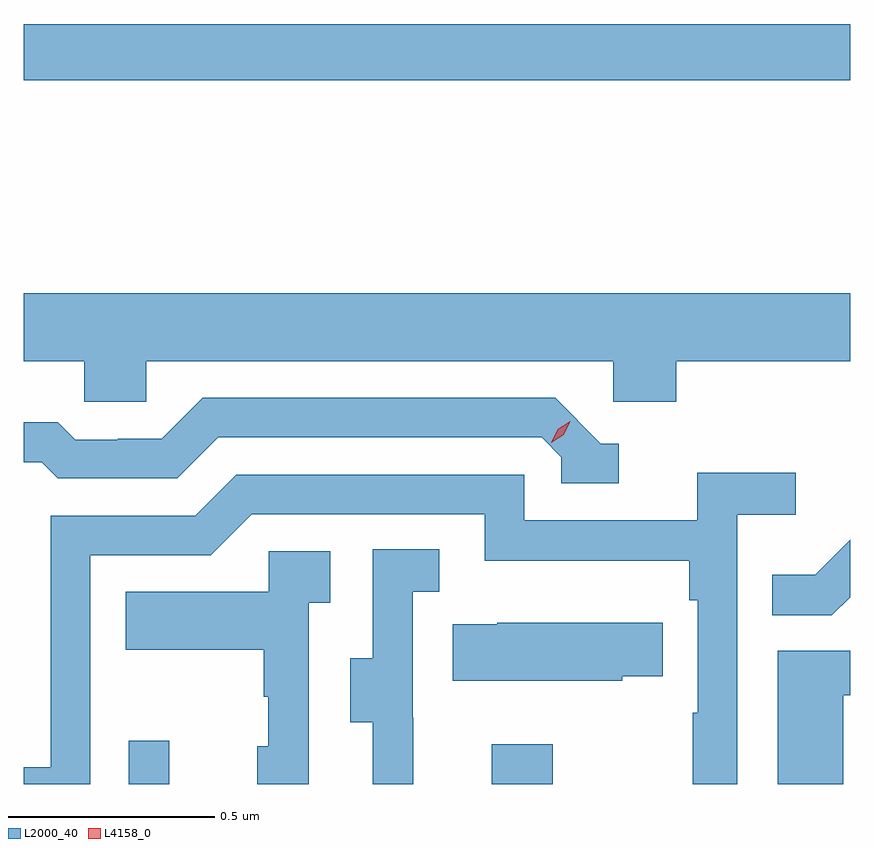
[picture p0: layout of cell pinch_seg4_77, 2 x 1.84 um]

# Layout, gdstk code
import gdstk
lib = gdstk.Library(unit=1e-6, precision=1e-09)
def R(c, l, rs):  # rectangles x0, y0, x1, y1
    for r in rs: c.add(gdstk.rectangle(r[:2], r[2:], *l))
def P(c, l, *ps):  # polygons
    for p in ps: c.add(gdstk.Polygon(p, *l))
L2000_40 = (2000, 40)
L4158_0 = (4158, 0)

pinch_seg4_77 = lib.new_cell('pinch_seg4_77')
R(pinch_seg4_77, L2000_40, [(1035.789,811.78,1035.887,811.885), (1036.667,811.78,1036.815,811.876), (1035.535,813.484,1037.535,813.62)])
P(pinch_seg4_77, L2000_40, [(1035.831,812.804),(1036.962,812.804),(1036.962,812.706),(1037.114,812.706),(1037.114,812.804),(1037.535,812.804),(1037.535,812.968),(1035.535,812.968),(1035.535,812.804),(1035.681,812.804),(1035.681,812.706),(1035.831,812.706)],
  [(1036.975,812.604),(1036.932,812.604),(1036.821,812.715),(1035.968,812.715),(1035.869,812.616),(1035.762,812.616),(1035.762,812.613),(1035.659,812.613),(1035.617,812.656),(1035.535,812.656),(1035.535,812.559),(1035.578,812.559),(1035.617,812.52),(1035.906,812.52),(1036.005,812.619),(1036.788,812.619),(1036.836,812.571),(1036.836,812.508),(1036.975,812.508)],
  [(1035.696,812.334),(1035.987,812.334),(1036.086,812.433),(1036.65,812.433),(1036.65,812.321),(1037.146,812.321),(1037.146,812.225),(1037.166,812.225),(1037.166,811.952),(1037.154,811.952),(1037.154,811.78),(1037.262,811.78),(1037.262,812.432),(1037.404,812.432),(1037.404,812.534),(1037.165,812.534),(1037.165,812.418),(1036.746,812.418),(1036.746,812.529),(1036.049,812.529),(1035.95,812.43),(1035.6,812.43),(1035.6,811.821),(1035.535,811.821),(1035.535,811.78),(1035.696,811.78)],
  [(1037.535,812.232),(1037.535,812.371),(1037.451,812.287),(1037.347,812.287),(1037.347,812.188),(1037.491,812.188)],
  [(1036.478,811.941),(1036.476,811.941),(1036.476,812.245),(1036.54,812.245),(1036.54,812.348),(1036.38,812.348),(1036.38,812.085),(1036.325,812.085),(1036.325,811.93),(1036.379,811.93),(1036.379,811.78),(1036.478,811.78)],
  [(1036.224,812.219),(1036.276,812.219),(1036.276,812.343),(1036.128,812.343),(1036.128,812.245),(1035.781,812.245),(1035.781,812.105),(1036.116,812.105),(1036.116,811.991),(1036.126,811.991),(1036.126,811.872),(1036.1,811.872),(1036.1,811.78),(1036.224,811.78)],
  [(1036.983,812.041),(1037.081,812.041),(1037.081,812.17),(1036.681,812.17),(1036.681,812.167),(1036.573,812.167),(1036.573,812.03),(1036.983,812.03)],
  [(1037.518,811.995),(1037.535,811.995),(1037.535,812.103),(1037.36,812.103),(1037.36,811.78),(1037.518,811.78)])
P(pinch_seg4_77, L4158_0, [(1036.811,812.606),(1036.811,812.606),(1036.827,812.639),(1036.858,812.658),(1036.858,812.658),(1036.858,812.658),(1036.842,812.625),(1036.811,812.606)])

lib.write_gds('pinch_seg4_77.gds')
